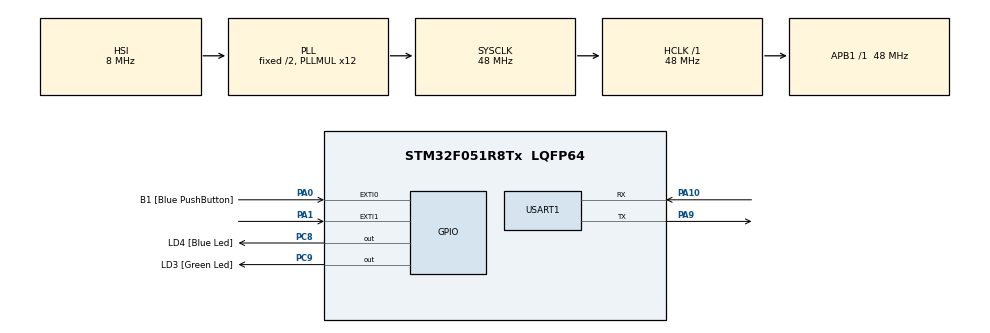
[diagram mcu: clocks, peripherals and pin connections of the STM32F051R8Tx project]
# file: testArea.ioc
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Mcu.Family=STM32F0
Mcu.Name=STM32F051R8Tx
Mcu.Package=LQFP64
NVIC.EXTI0_1_IRQn=true\:0\:0\:false\:false\:true\:true\:true\:true
NVIC.USART1_IRQn=true\:0\:0\:false\:false\:true\:true\:true\:true
PA0.GPIO_Label=B1 [Blue PushButton]
PA0.GPIO_ModeDefaultEXTI=GPIO_MODE_IT_FALLING
PA0.Signal=GPXTI0
PA1.Signal=GPXTI1
PA10.Mode=Asynchronous
PA10.Signal=USART1_RX
PA13.GPIO_Label=SWDIO
PA13.Mode=Serial_Wire
PA13.Signal=SYS_SWDIO
PA14.GPIO_Label=SWCLK
PA14.Mode=Serial_Wire
PA14.Signal=SYS_SWCLK
PA9.Mode=Asynchronous
PA9.Signal=USART1_TX
PC8.GPIO_Label=LD4 [Blue Led]
PC8.Signal=GPIO_Output
PC9.GPIO_Label=LD3 [Green Led]
PC9.Signal=GPIO_Output
ProjectManager.HeapSize=0x200
ProjectManager.StackSize=0x400
ProjectManager.TargetToolchain=STM32CubeIDE
RCC.AHBFreq_Value=48000000
RCC.APB1Freq_Value=48000000
RCC.APB1TimFreq_Value=48000000
RCC.HCLKFreq_Value=48000000
RCC.PLLMUL=RCC_PLL_MUL12
RCC.SYSCLKFreq_VALUE=48000000
RCC.SYSCLKSource=RCC_SYSCLKSOURCE_PLLCLK
USART1.VirtualMode-Asynchronous=VM_ASYNC
board=STM32F0DISCOVERY

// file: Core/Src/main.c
/* USER CODE BEGIN Header */
/**
  ******************************************************************************
  * @file           : main.c
  * @brief          : Main program body
  ******************************************************************************
  * @attention
  *
  * Copyright (c) 2023 STMicroelectronics.
  * All rights reserved.
  *
  * This software is licensed under terms that can be found in the LICENSE file
  * in the root directory of this software component.
  * If no LICENSE file comes with this software, it is provided AS-IS.
  *
  ******************************************************************************
  */
/* USER CODE END Header */
#include "main.h"

UART_HandleTypeDef huart1;

void SystemClock_Config(void);
static void MX_GPIO_Init(void);
static void MX_USART1_UART_Init(void);

/* USER CODE BEGIN 0 */
uint8_t Rx_data;
char * str = {0};

void HAL_UART_RxCpltCallback(UART_HandleTypeDef *huart)
{
    HAL_UART_Receive_IT(huart, &Rx_data, 1);
    str = "WakeUP from SLEEP by UART\r\n";
    HAL_UART_Transmit(&huart1, (uint8_t *)str, strlen (str), HAL_MAX_DELAY);
}

void HAL_GPIO_EXTI_Callback(uint16_t GPIO_Pin)
{
//    str = "WakeUP from SLEEP by EXTI\r\n";
//    HAL_UART_Transmit(&huart1, (uint8_t *)str, strlen (str), HAL_MAX_DELAY);
//    HAL_PWR_DisableSleepOnExit();
	SystemClock_Config();
	HAL_ResumeTick();

}

/* USER CODE END 0 */

int main(void)
{

  /* MCU Configuration--------------------------------------------------------*/

  /* Reset of all peripherals, Initializes the Flash interface and the Systick. */
  HAL_Init();

  /* Configure the system clock */
  SystemClock_Config();

  /* Initialize all configured peripherals */
  MX_GPIO_Init();
  MX_USART1_UART_Init();

  /* Infinite loop */
  /* USER CODE BEGIN WHILE */
  while (1)
  {
	  str = "Going into SLEEP MODE in 5 seconds\r\n";
	 	  HAL_UART_Transmit(&huart1, (uint8_t *)str, strlen (str), HAL_MAX_DELAY);

	 	  HAL_GPIO_WritePin(GPIOC, GPIO_PIN_8, 1);
	   	  HAL_Delay(5000);

	 /*    Suspend Tick increment to prevent wakeup by Systick interrupt.
	 	  Otherwise the Systick interrupt will wake up the device within 1ms (HAL time base)
	 */
	 	  HAL_SuspendTick();

	 	  HAL_GPIO_WritePin(GPIOC, GPIO_PIN_8, 0);  // Just to indicate that the sleep mode is activated

	 	//  HAL_PWR_EnableSleepOnExit();

	 //	  Enter Sleep Mode , wake up is done once User push-button is pressed
	 	  //HAL_PWR_EnterSLEEPMode(PWR_MAINREGULATOR_ON, PWR_SLEEPENTRY_WFI);

	 	  HAL_PWR_EnterSTOPMode(PWR_LOWPOWERREGULATOR_ON, PWR_STOPENTRY_WFI);

	 //	  Resume Tick interrupt if disabled prior to sleep mode entry
	 	  HAL_ResumeTick();

	 	  str = "WakeUP from SLEEP\r\n";
	 	  HAL_UART_Transmit(&huart1, (uint8_t *)str, strlen (str), HAL_MAX_DELAY);

	 	  for (int i=0; i<20; i++)
	 	  {
	 		  HAL_GPIO_TogglePin(GPIOC, GPIO_PIN_8);
	 		  HAL_Delay(100);
	 	  }
    /* USER CODE END WHILE */

  }
}

void SystemClock_Config(void)
{
  RCC_OscInitTypeDef RCC_OscInitStruct = {0};
  RCC_ClkInitTypeDef RCC_ClkInitStruct = {0};
  RCC_PeriphCLKInitTypeDef PeriphClkInit = {0};

  /** Initializes the RCC Oscillators according to the specified parameters
  * in the RCC_OscInitTypeDef structure.
  */
  RCC_OscInitStruct.OscillatorType = RCC_OSCILLATORTYPE_HSI;
  RCC_OscInitStruct.HSIState = RCC_HSI_ON;
  RCC_OscInitStruct.HSICalibrationValue = RCC_HSICALIBRATION_DEFAULT;
  RCC_OscInitStruct.PLL.PLLState = RCC_PLL_ON;
  RCC_OscInitStruct.PLL.PLLSource = RCC_PLLSOURCE_HSI;
  RCC_OscInitStruct.PLL.PLLMUL = RCC_PLL_MUL12;
  RCC_OscInitStruct.PLL.PREDIV = RCC_PREDIV_DIV1;
  if (HAL_RCC_OscConfig(&RCC_OscInitStruct) != HAL_OK)
  {
    Error_Handler();
  }

  /** Initializes the CPU, AHB and APB buses clocks
  */
  RCC_ClkInitStruct.ClockType = RCC_CLOCKTYPE_HCLK|RCC_CLOCKTYPE_SYSCLK
                              |RCC_CLOCKTYPE_PCLK1;
  RCC_ClkInitStruct.SYSCLKSource = RCC_SYSCLKSOURCE_PLLCLK;
  RCC_ClkInitStruct.AHBCLKDivider = RCC_SYSCLK_DIV1;
  RCC_ClkInitStruct.APB1CLKDivider = RCC_HCLK_DIV1;

  if (HAL_RCC_ClockConfig(&RCC_ClkInitStruct, FLASH_LATENCY_1) != HAL_OK)
  {
    Error_Handler();
  }
  PeriphClkInit.PeriphClockSelection = RCC_PERIPHCLK_USART1;
  PeriphClkInit.Usart1ClockSelection = RCC_USART1CLKSOURCE_PCLK1;
  if (HAL_RCCEx_PeriphCLKConfig(&PeriphClkInit) != HAL_OK)
  {
    Error_Handler();
  }
}

static void MX_USART1_UART_Init(void)
{

  huart1.Instance = USART1;
  huart1.Init.BaudRate = 38400;
  huart1.Init.WordLength = UART_WORDLENGTH_8B;
  huart1.Init.StopBits = UART_STOPBITS_1;
  huart1.Init.Parity = UART_PARITY_NONE;
  huart1.Init.Mode = UART_MODE_TX_RX;
  huart1.Init.HwFlowCtl = UART_HWCONTROL_NONE;
  huart1.Init.OverSampling = UART_OVERSAMPLING_16;
  huart1.Init.OneBitSampling = UART_ONE_BIT_SAMPLE_DISABLE;
  huart1.AdvancedInit.AdvFeatureInit = UART_ADVFEATURE_NO_INIT;
  if (HAL_UART_Init(&huart1) != HAL_OK)
  {
    Error_Handler();
  }

}

static void MX_GPIO_Init(void)
{
  GPIO_InitTypeDef GPIO_InitStruct = {0};

  /* GPIO Ports Clock Enable */
  __HAL_RCC_GPIOA_CLK_ENABLE();
  __HAL_RCC_GPIOC_CLK_ENABLE();

  /*Configure GPIO pin Output Level */
  HAL_GPIO_WritePin(GPIOC, LD4_Pin|LD3_Pin, GPIO_PIN_RESET);

  /*Configure GPIO pin : B1_Pin */
  GPIO_InitStruct.Pin = B1_Pin;
  GPIO_InitStruct.Mode = GPIO_MODE_IT_FALLING;
  GPIO_InitStruct.Pull = GPIO_NOPULL;
  HAL_GPIO_Init(B1_GPIO_Port, &GPIO_InitStruct);

  /*Configure GPIO pin : PA1 */
  GPIO_InitStruct.Pin = GPIO_PIN_1;
  GPIO_InitStruct.Mode = GPIO_MODE_IT_RISING;
  GPIO_InitStruct.Pull = GPIO_NOPULL;
  HAL_GPIO_Init(GPIOA, &GPIO_InitStruct);

  /*Configure GPIO pins : LD4_Pin LD3_Pin */
  GPIO_InitStruct.Pin = LD4_Pin|LD3_Pin;
  GPIO_InitStruct.Mode = GPIO_MODE_OUTPUT_PP;
  GPIO_InitStruct.Pull = GPIO_NOPULL;
  GPIO_InitStruct.Speed = GPIO_SPEED_FREQ_LOW;
  HAL_GPIO_Init(GPIOC, &GPIO_InitStruct);

  /* EXTI interrupt init*/
  HAL_NVIC_SetPriority(EXTI0_1_IRQn, 0, 0);
  HAL_NVIC_EnableIRQ(EXTI0_1_IRQn);

}

void Error_Handler(void)
{
  __disable_irq();
  while (1)
  {
  }
}
